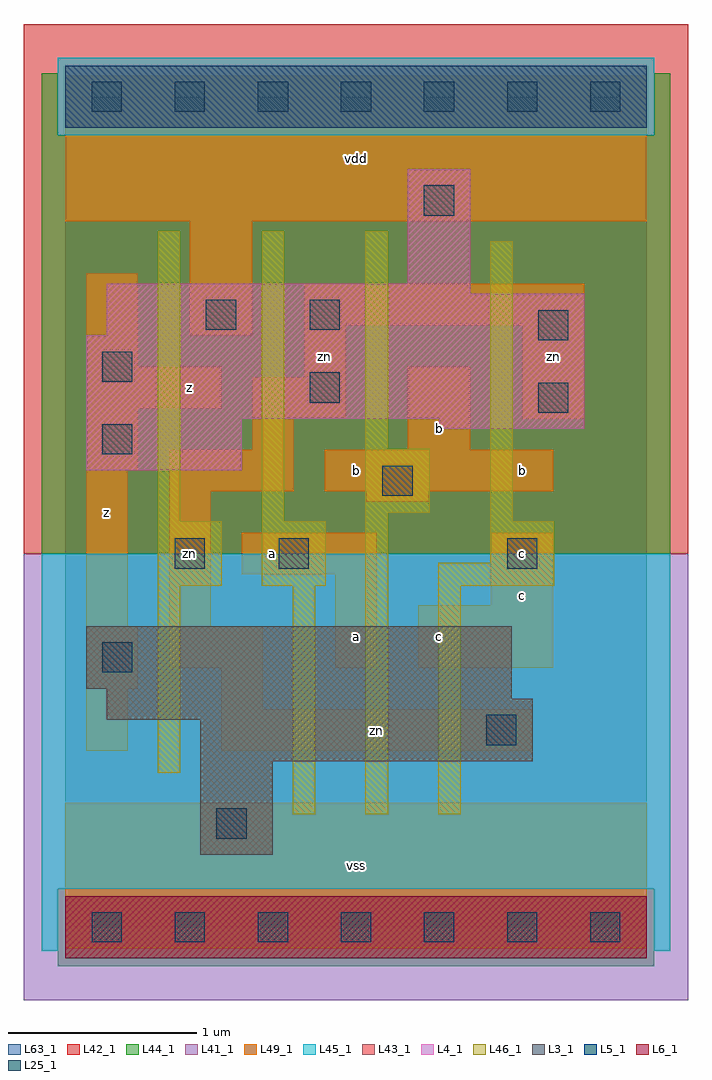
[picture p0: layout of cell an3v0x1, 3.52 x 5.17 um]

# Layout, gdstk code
import gdstk
lib = gdstk.Library(unit=1e-6, precision=1e-09)
def R(c, l, rs):  # rectangles x0, y0, x1, y1
    for r in rs: c.add(gdstk.rectangle(r[:2], r[2:], *l))
def A(c, l, x, y, w, h, nx, ny, dx, dy):  # array of equal rectangles
    R(c, l, [(x+i*dx, y+j*dy, x+i*dx+w, y+j*dy+h) for i in range(nx) for j in range(ny)])
L3_1 = (3, 1)
L4_1 = (4, 1)
L5_1 = (5, 1)
L6_1 = (6, 1)
L25_1 = (25, 1)
L41_1 = (41, 1)
L42_1 = (42, 1)
L43_1 = (43, 1)
L44_1 = (44, 1)
L45_1 = (45, 1)
L46_1 = (46, 1)
L49_1 = (49, 1)
L63_1 = (63, 1)

an3v0x1 = lib.new_cell('an3v0x1')
R(an3v0x1, L3_1, [(0.715,0.385,1.1,0.88), (0.715,0.88,2.475,1.1), (0.22,1.1,2.475,1.21), (0.22,1.21,2.365,1.265), (0.11,1.265,2.365,1.595)])
R(an3v0x1, L4_1, [(0.11,2.42,0.935,2.695), (1.98,2.64,2.75,2.695), (0.11,2.695,2.75,3.135), (0.22,3.135,2.75,3.355), (0.22,3.355,2.145,3.41), (1.815,3.41,2.145,4.015)])
R(an3v0x1, L5_1, [(0,4.235,3.08,4.565)])
R(an3v0x1, L6_1, [(0,-0.165,3.08,0.165)])
A(an3v0x1, L25_1, 0.14, -0.08, 0.16, 0.16, 7, 2, 0.44, 4.4)
R(an3v0x1, L25_1, [(0.8,0.47,0.96,0.63), (2.23,0.965,2.39,1.125), (0.195,1.35,0.355,1.51), (0.58,1.9,0.74,2.06), (1.13,1.9,1.29,2.06), (2.34,1.9,2.5,2.06), (1.68,2.285,1.84,2.445), (0.195,2.505,0.355,2.665), (2.505,2.725,2.665,2.885), (1.295,2.78,1.455,2.94), (0.195,2.89,0.355,3.05), (2.505,3.11,2.665,3.27), (0.745,3.165,0.905,3.325), (1.295,3.165,1.455,3.325), (1.9,3.77,2.06,3.93)])
R(an3v0x1, L41_1, [(-0.22,-0.385,3.3,1.98)])
R(an3v0x1, L42_1, [(-0.22,1.98,3.3,4.785)])
R(an3v0x1, L43_1, [(0,-0.165,3.08,0.165), (0.715,0.385,1.1,0.88), (0.715,0.88,2.475,1.1), (0.22,1.1,2.475,1.21), (0.22,1.21,2.365,1.265), (0.11,1.265,2.365,1.595), (0.11,2.42,0.935,2.695), (1.98,2.64,2.75,2.695), (0.11,2.695,2.75,3.135), (0.22,3.135,2.75,3.355), (0.22,3.355,2.145,3.41), (1.815,3.41,2.145,4.015), (0,4.235,3.08,4.565)])
R(an3v0x1, L44_1, [(-0.04,-0.205,3.12,0.205), (-0.125,1.98,3.205,4.195), (-0.125,4.195,-0.04,4.525), (3.12,4.195,3.205,4.525)])
R(an3v0x1, L45_1, [(-0.125,-0.125,-0.04,0.205), (3.12,-0.125,3.205,0.205), (-0.125,0.205,3.205,1.98), (-0.04,4.195,3.12,4.605)])
R(an3v0x1, L46_1, [(1.205,0.6,1.325,1.81), (1.59,0.6,1.71,2.195), (1.975,0.6,2.095,1.81), (0.49,0.82,0.61,1.81), (0.49,1.81,0.83,2.15), (1.04,1.81,1.38,2.15), (1.975,1.81,2.59,1.93), (2.25,1.93,2.59,2.15), (0.49,2.15,0.61,3.69), (1.04,2.15,1.16,3.69), (2.25,2.15,2.37,3.635), (1.59,2.195,1.93,2.535), (1.59,2.535,1.71,3.69)])
R(an3v0x1, L49_1, [(0,-0.11,3.08,0.66), (0.11,0.935,0.33,1.265), (0.825,0.935,2.475,1.155), (0.825,1.155,1.045,1.375), (0.11,1.265,0.385,1.595), (0.55,1.375,1.045,1.595), (1.43,1.375,1.65,1.87), (1.87,1.375,2.585,1.705), (0.11,1.595,0.33,2.42), (0.55,1.595,0.77,2.31), (2.255,1.705,2.585,2.09), (0.935,1.87,1.65,2.09), (1.595,2.255,1.925,2.31), (0.55,2.31,1.21,2.53), (1.375,2.31,2.585,2.53), (0.11,2.42,0.385,2.75), (0.99,2.53,1.21,2.695), (1.815,2.53,2.145,2.97), (0.99,2.695,1.485,2.915), (2.42,2.695,2.75,3.19), (0.11,2.75,0.825,2.97), (1.265,2.915,1.485,3.19), (0.11,2.97,0.385,3.465), (0.66,3.135,0.99,3.74), (1.265,3.19,2.75,3.41), (0,3.74,3.08,4.51)])
R(an3v0x1, L63_1, [(0,0,3.08,4.4)])
an3v0x1.add(gdstk.Label('zn', (0.66,1.98), layer=49, texttype=1))
an3v0x1.add(gdstk.Label('z', (0.22,2.2), layer=49, texttype=1))
an3v0x1.add(gdstk.Label('zn', (0.66,1.925), layer=49, texttype=1))
an3v0x1.add(gdstk.Label('z', (0.66,2.86), layer=49, texttype=1))
an3v0x1.add(gdstk.Label('vss', (1.54,0.33), layer=49, texttype=1))
an3v0x1.add(gdstk.Label('a', (1.54,1.54), layer=49, texttype=1))
an3v0x1.add(gdstk.Label('a', (1.1,1.98), layer=49, texttype=1))
an3v0x1.add(gdstk.Label('b', (1.54,2.42), layer=49, texttype=1))
an3v0x1.add(gdstk.Label('zn', (1.375,3.025), layer=49, texttype=1))
an3v0x1.add(gdstk.Label('vdd', (1.54,4.07), layer=49, texttype=1))
an3v0x1.add(gdstk.Label('c', (1.98,1.54), layer=49, texttype=1))
an3v0x1.add(gdstk.Label('zn', (1.65,1.045), layer=49, texttype=1))
an3v0x1.add(gdstk.Label('c', (2.42,1.76), layer=49, texttype=1))
an3v0x1.add(gdstk.Label('b', (2.42,2.42), layer=49, texttype=1))
an3v0x1.add(gdstk.Label('c', (2.42,1.98), layer=49, texttype=1))
an3v0x1.add(gdstk.Label('b', (1.98,2.64), layer=49, texttype=1))
an3v0x1.add(gdstk.Label('zn', (2.585,3.025), layer=49, texttype=1))

lib.write_gds('an3v0x1.gds')
